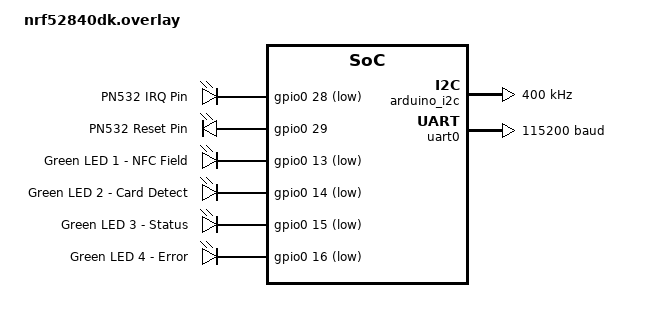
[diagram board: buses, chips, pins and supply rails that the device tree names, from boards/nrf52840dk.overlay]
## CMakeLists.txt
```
cmake_minimum_required(VERSION 3.20.0)

find_package(Zephyr REQUIRED HINTS $ENV{ZEPHYR_BASE})

project(passport_reader)

target_sources(app PRIVATE
    src/main.c
    src/ble_passport_service.c
)
```

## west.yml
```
manifest:
  self:
    path: .

  remotes:
    - name: zephyrproject-rtos
      url-base: https://github.com/zephyrproject-rtos

  projects:
    - name: zephyr
      remote: zephyrproject-rtos
      revision: v3.5.0
      path: zephyr
      import: true
```

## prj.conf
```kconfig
# Project Configuration for NFC Passport Reader with BLE
# Compatible with Standalone Zephyr 3.5.0

# ==================== General Configuration ====================
CONFIG_MAIN_STACK_SIZE=4096
CONFIG_HEAP_MEM_POOL_SIZE=8192
CONFIG_SYSTEM_WORKQUEUE_STACK_SIZE=2048

# ==================== Logging Configuration ====================
CONFIG_LOG=y
CONFIG_LOG_MODE_DEFERRED=y
CONFIG_LOG_BACKEND_UART=y
CONFIG_LOG_DEFAULT_LEVEL=3
CONFIG_PRINTK=y
CONFIG_EARLY_CONSOLE=y

# ==================== GPIO Configuration ====================
CONFIG_GPIO=y

# ==================== I2C Configuration ====================
CONFIG_I2C=y

# ==================== Bluetooth Configuration ====================
# Core Bluetooth
CONFIG_BT=y
CONFIG_BT_PERIPHERAL=y
CONFIG_BT_DEVICE_NAME="PassportReader"
CONFIG_BT_DEVICE_NAME_MAX=20
CONFIG_BT_DEVICE_NAME_DYNAMIC=y

# BLE Settings
CONFIG_BT_MAX_CONN=1
CONFIG_BT_MAX_PAIRED=1

# GATT Service
CONFIG_BT_GATT_SERVICE_CHANGED=y
CONFIG_BT_GATT_DYNAMIC_DB=y
CONFIG_BT_ATT_PREPARE_COUNT=2
CONFIG_BT_L2CAP_TX_BUF_COUNT=4

# MTU Size (Good for passport data transfer)
CONFIG_BT_L2CAP_TX_MTU=247
CONFIG_BT_BUF_ACL_TX_SIZE=251
CONFIG_BT_BUF_ACL_RX_SIZE=251

# Privacy and Security
CONFIG_BT_PRIVACY=y
CONFIG_BT_SMP=y
CONFIG_BT_SIGNING=y
CONFIG_BT_BONDABLE=y

# ==================== Cryptography - mbedTLS ====================
CONFIG_MBEDTLS=y
CONFIG_MBEDTLS_BUILTIN=y
CONFIG_MBEDTLS_ENABLE_HEAP=y
CONFIG_MBEDTLS_HEAP_SIZE=32768

# Core crypto support
CONFIG_MBEDTLS_CIPHER=y
CONFIG_MBEDTLS_MD=y

# Hash algorithms
CONFIG_MBEDTLS_MAC_SHA1_ENABLED=y
CONFIG_MBEDTLS_MAC_SHA256_ENABLED=y

# Cipher support
CONFIG_MBEDTLS_CIPHER_AES_ENABLED=y

# Random number generation
CONFIG_ENTROPY_GENERATOR=y
CONFIG_MBEDTLS_ENTROPY_ENABLED=y
CONFIG_MBEDTLS_CTR_DRBG_ENABLED=y
CONFIG_MBEDTLS_HMAC_DRBG_ENABLED=y

# ==================== Thread Configuration ====================
CONFIG_NUM_PREEMPT_PRIORITIES=15

# ==================== Timer Configuration ====================
CONFIG_SYS_CLOCK_TICKS_PER_SEC=1000

# ==================== Debug Configuration ====================
CONFIG_DEBUG=y
CONFIG_ASSERT=y
CONFIG_ASSERT_LEVEL=2

# ==================== Console Configuration ====================
CONFIG_CONSOLE=y
CONFIG_UART_CONSOLE=y

# ==================== Optimization ====================
CONFIG_SPEED_OPTIMIZATIONS=y

# ==================== BLE Controller Configuration ====================
# Note: Some of these options may not exist in Zephyr 3.5.0
# They are controller-specific and auto-configured based on other settings
CONFIG_BT_CTLR_DATA_LENGTH_MAX=251
CONFIG_BT_CTLR_RX_BUFFERS=6

# ==================== Optional Debug (Uncomment for troubleshooting) ====================
# CONFIG_BT_DEBUG_LOG=y
# CONFIG_BT_DEBUG_GATT=y
# CONFIG_BT_DEBUG_ATT=y
# CONFIG_BT_DEBUG_L2CAP=y
```

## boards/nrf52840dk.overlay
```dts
/*
 * Device Tree Overlay for NRF52840 DK + PN532 NFC Module
 * Board: nrf52840dk_nrf52840
 * Zephyr version: 3.5.0
 * 
 * Pin Assignments:
 * PN532 Module <-> NRF52840 DK
 * VCC  -> VDD (3.3V)
 * GND  -> GND
 * SDA  -> P0.26 (I2C SDA) - Pin 15 on P3 header
 * SCL  -> P0.27 (I2C SCL) - Pin 16 on P3 header
 * IRQ  -> P0.28 (GPIO)    - Pin 17 on P3 header
 * RST  -> P0.29 (GPIO)    - Pin 18 on P3 header
 */

/ {
    aliases {
        pn532irq = &pn532_irq_gpio;
        pn532rst = &pn532_rst_gpio;
    };

    pn532_control {
        compatible = "gpio-leds";
        pn532_irq_gpio: pn532_irq {
            gpios = <&gpio0 28 (GPIO_ACTIVE_LOW | GPIO_PULL_UP)>;
            label = "PN532 IRQ Pin";
        };
        pn532_rst_gpio: pn532_rst {
            gpios = <&gpio0 29 GPIO_ACTIVE_HIGH>;
            label = "PN532 Reset Pin";
        };
    };
};

/* I2C Configuration - Use arduino_i2c which is already configured */
&arduino_i2c {
    status = "okay";
    clock-frequency = <I2C_BITRATE_FAST>;
};

/* Alternative: Use i2c0 with explicit pin configuration */
&i2c0 {
    compatible = "nordic,nrf-twi";
    status = "disabled";  /* Disable if using arduino_i2c above */
};

/* LEDs on nRF52840 DK */
&led0 {
    gpios = <&gpio0 13 GPIO_ACTIVE_LOW>;
    label = "Green LED 1 - NFC Field";
};

&led1 {
    gpios = <&gpio0 14 GPIO_ACTIVE_LOW>;
    label = "Green LED 2 - Card Detect";
};

&led2 {
    gpios = <&gpio0 15 GPIO_ACTIVE_LOW>;
    label = "Green LED 3 - Status";
};

&led3 {
    gpios = <&gpio0 16 GPIO_ACTIVE_LOW>;
    label = "Green LED 4 - Error";
};

/* UART for logging */
&uart0 {
    status = "okay";
    current-speed = <115200>;
};

/* GPIO */
&gpio0 {
    status = "okay";
};

/* Disable unused peripherals to save resources */
&i2c1 {
    status = "disabled";
};

&pwm0 {
    status = "disabled";
};

&spi0 {
    status = "disabled";
};

&spi1 {
    status = "disabled";
};

&spi2 {
    status = "disabled";
};
```

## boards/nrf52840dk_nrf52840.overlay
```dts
/*
 * Device Tree Overlay for NRF52840 DK + PN532 NFC Module
 */

/ {
	aliases {
		pn532irq = &pn532_irq_gpio;
		pn532rst = &pn532_rst_gpio;
	};

	pn532_control {
		compatible = "gpio-keys";  /* FIXED: Changed from "gpio-leds" to "gpio-keys" */
		pn532_irq_gpio: pn532_irq {
			gpios = <&gpio0 28 (GPIO_ACTIVE_LOW | GPIO_PULL_UP)>;
			label = "PN532 IRQ Pin";
		};
		pn532_rst_gpio: pn532_rst {
			gpios = <&gpio0 29 GPIO_ACTIVE_HIGH>;
			label = "PN532 Reset Pin";
		};
	};
};

/* Pin control for I2C0 (arduino_i2c) */
&pinctrl {
	i2c0_default: i2c0_default {
		group1 {
			psels = <NRF_PSEL(TWIM_SDA, 0, 26)>,
					<NRF_PSEL(TWIM_SCL, 0, 27)>;
		};
	};

	i2c0_sleep: i2c0_sleep {
		group1 {
			psels = <NRF_PSEL(TWIM_SDA, 0, 26)>,
					<NRF_PSEL(TWIM_SCL, 0, 27)>;
			low-power-enable;
		};
	};
};

/* Enable I2C0 (also known as arduino_i2c) */
&i2c0 {
	compatible = "nordic,nrf-twim";
	status = "okay";
	clock-frequency = <I2C_BITRATE_STANDARD>;  /* IMPROVED: Use constant instead of raw value */
	pinctrl-0 = <&i2c0_default>;
	pinctrl-1 = <&i2c0_sleep>;
	pinctrl-names = "default", "sleep";
};

/* LEDs */
&led0 {
	gpios = <&gpio0 13 GPIO_ACTIVE_LOW>;
};

&led1 {
	gpios = <&gpio0 14 GPIO_ACTIVE_LOW>;
};

&led2 {
	gpios = <&gpio0 15 GPIO_ACTIVE_LOW>;
};

&led3 {
	gpios = <&gpio0 16 GPIO_ACTIVE_LOW>;
};

/* Disable unused peripherals to save power */
&i2c1 {
	status = "disabled";
};

&spi0 {
	status = "disabled";
};

&spi1 {
	status = "disabled";
};

&spi2 {
	status = "disabled";
};

&pwm0 {
	status = "disabled";
};
```

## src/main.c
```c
/**
 * @file main.c
 * @brief NFC Passport Reader with BLE - Android Integration
 */

#include <zephyr/kernel.h>
#include <zephyr/device.h>
#include <zephyr/devicetree.h>
#include <zephyr/drivers/gpio.h>
#include <zephyr/drivers/i2c.h>
#include <zephyr/logging/log.h>
#include <string.h>

#include "ble_passport_service.h"

LOG_MODULE_REGISTER(nfc_passport, LOG_LEVEL_DBG);

/* ==================== PN532 Configuration ==================== */
static uint8_t pn532_i2c_address = 0x24; // Will auto-detect 0x24 or 0x48
#define PN532_PREAMBLE 0x00
#define PN532_STARTCODE1 0x00
#define PN532_STARTCODE2 0xFF
#define PN532_POSTAMBLE 0x00

#define PN532_HOSTTOPN532 0xD4
#define PN532_PN532TOHOST 0xD5

/* PN532 Commands */
#define PN532_CMD_GETFIRMWAREVERSION 0x02
#define PN532_CMD_SAMCONFIGURATION 0x14
#define PN532_CMD_INLISTPASSIVETARGET 0x4A
#define PN532_CMD_INDATAEXCHANGE 0x40

/* ISO14443A Types */
#define PN532_MIFARE_ISO14443A 0x00

/* GPIO Pins */
#define PN532_IRQ_NODE DT_ALIAS(pn532irq)
#define PN532_RST_NODE DT_ALIAS(pn532rst)

#define LED0_NODE DT_ALIAS(led0)
#define LED1_NODE DT_ALIAS(led1)
#define LED2_NODE DT_ALIAS(led2)
#define LED3_NODE DT_ALIAS(led3)

/* ==================== Type Definitions ==================== */
#define APDU_MAX_LEN 261

typedef struct
{
        uint8_t data[APDU_MAX_LEN];
        uint16_t len;
} apdu_t;

typedef enum
{
        STATE_IDLE,
        STATE_INIT_PN532,
        STATE_WAIT_COMMAND,
        STATE_DETECTING,
        STATE_CARD_DETECTED,
        STATE_SELECTING_APP,
        STATE_READING_DG1,
        STATE_SUCCESS,
        STATE_ERROR
} passport_state_t;

typedef struct
{
        passport_state_t state;
        uint8_t uid[10];
        uint8_t uid_len;
        uint8_t target_number;
        bool card_present;
        bool scan_requested;
        passport_data_t passport_data;
} passport_reader_t;

/* ==================== Global Variables ==================== */
static const struct device *i2c_dev;
static const struct gpio_dt_spec pn532_irq = GPIO_DT_SPEC_GET(PN532_IRQ_NODE, gpios);
static const struct gpio_dt_spec pn532_rst = GPIO_DT_SPEC_GET(PN532_RST_NODE, gpios);

static const struct gpio_dt_spec led0 = GPIO_DT_SPEC_GET(LED0_NODE, gpios);
static const struct gpio_dt_spec led1 = GPIO_DT_SPEC_GET(LED1_NODE, gpios);
static const struct gpio_dt_spec led2 = GPIO_DT_SPEC_GET(LED2_NODE, gpios);
static const struct gpio_dt_spec led3 = GPIO_DT_SPEC_GET(LED3_NODE, gpios);

static passport_reader_t reader = {0};

/* ==================== PN532 Functions - Arduino Style ==================== */

static int pn532_wakeup(void)
{
        LOG_DBG("Waking up PN532...");

        // Send wakeup sequence (like Arduino library)
        uint8_t wake_cmd[] = {0x55, 0x55, 0x00, 0x00, 0x00};
        int ret = i2c_write(i2c_dev, wake_cmd, sizeof(wake_cmd), pn532_i2c_address);

        if (ret != 0)
        {
                LOG_WRN("Wakeup write failed: %d", ret);
        }

        k_sleep(K_MSEC(20));

        return 0;
}

static int pn532_read_ack(void)
{
        uint8_t ack[7];

        int ret = i2c_read(i2c_dev, ack, sizeof(ack), pn532_i2c_address);
        if (ret != 0)
        {
                return ret;
        }

        // Log ACK frame for debugging
        LOG_HEXDUMP_DBG(ack, sizeof(ack), "ACK frame:");

        // Skip ready byte if present
        uint8_t offset = (ack[0] == 0x01) ? 1 : 0;

        if (offset == 1)
        {
                LOG_DBG("ACK has I2C ready byte (0x01)");
        }

        // ACK is optional in I2C mode
        LOG_DBG("ACK skipped (optional in I2C mode)");
        return 0;
}

static int pn532_write_command(const uint8_t *cmd, uint8_t cmd_len)
{
        uint8_t frame[64];
        uint8_t idx = 0;

        frame[idx++] = PN532_PREAMBLE;
        frame[idx++] = PN532_STARTCODE1;
        frame[idx++] = PN532_STARTCODE2;
        frame[idx++] = cmd_len + 1;
        frame[idx++] = ~(cmd_len + 1) + 1;
        frame[idx++] = PN532_HOSTTOPN532;

        memcpy(&frame[idx], cmd, cmd_len);
        idx += cmd_len;

        uint8_t dcs = PN532_HOSTTOPN532;
        for (uint8_t i = 0; i < cmd_len; i++)
        {
                dcs += cmd[i];
        }
        frame[idx++] = ~dcs + 1;
        frame[idx++] = PN532_POSTAMBLE;

        LOG_HEXDUMP_DBG(frame, idx, "TX frame:");

        return i2c_write(i2c_dev, frame, idx, pn532_i2c_address);
}

static int pn532_read_response(uint8_t *resp, uint8_t *resp_len, uint16_t timeout_ms)
{
        uint8_t frame[64];
        int ret;

        // Wait for response ready
        k_sleep(K_MSEC(50));

        // Read ACK first (Arduino style)
        ret = pn532_read_ack();
        if (ret != 0)
        {
                LOG_DBG("ACK read failed or invalid");
        }

        // Small delay between ACK and response
        k_sleep(K_MSEC(20));

        // Read response frame
        ret = i2c_read(i2c_dev, frame, sizeof(frame), pn532_i2c_address);
        if (ret != 0)
        {
                LOG_ERR("Failed to read response frame: %d", ret);
                return ret;
        }

        // Log raw frame for debugging
        LOG_HEXDUMP_DBG(frame, 16, "RX frame:");

        // Check for "not ready" pattern (0x00 0x80 0x80...)
        if (frame[0] == 0x00 && frame[1] == 0x80)
        {
                LOG_DBG("PN532 not ready or no card present");
                return -EAGAIN; // Try again
        }

        // Skip the I2C ready status byte (0x01) if present
        uint8_t offset = 0;
        if (frame[0] == 0x01)
        {
                offset = 1;
                LOG_DBG("Skipped I2C ready byte");
        }

        // Validate frame header (after offset)
        if (frame[offset] != PN532_PREAMBLE ||
            frame[offset + 1] != PN532_STARTCODE1 ||
            frame[offset + 2] != PN532_STARTCODE2)
        {
                LOG_ERR("Invalid response frame header");
                LOG_ERR("Expected: 00 00 FF, Got: %02X %02X %02X",
                        frame[offset], frame[offset + 1], frame[offset + 2]);
                LOG_HEXDUMP_ERR(frame, 16, "Full frame:");
                return -EINVAL;
        }

        uint8_t len = frame[offset + 3];
        uint8_t lcs = frame[offset + 4];

        // Validate length checksum
        if ((uint8_t)(len + lcs) != 0)
        {
                LOG_WRN("Length checksum mismatch: LEN=0x%02X, LCS=0x%02X", len, lcs);
        }

        LOG_DBG("Frame header OK - Preamble: %02X %02X %02X, LEN: %02X, LCS: %02X",
                frame[offset], frame[offset + 1], frame[offset + 2], len, lcs);

        *resp_len = len - 2; // Subtract TFI and checksum
        memcpy(resp, &frame[offset + 6], *resp_len);

        LOG_HEXDUMP_DBG(resp, *resp_len, "Response data:");

        return 0;
}

static int pn532_reset(void)
{
        LOG_INF("Resetting PN532...");
        gpio_pin_set_dt(&pn532_rst, 0);
        k_sleep(K_MSEC(100));
        gpio_pin_set_dt(&pn532_rst, 1);
        k_sleep(K_MSEC(500));
        return 0;
}

static int pn532_init(void)
{
        int ret;
        uint8_t cmd[16];
        uint8_t resp[32];
        uint8_t resp_len;

        LOG_INF("Initializing PN532 (Arduino style)...");

        // Hardware reset
        ret = pn532_reset();
        if (ret != 0)
        {
                LOG_ERR("Reset failed");
                return ret;
        }

        // Try both addresses with retries (like Arduino library)
        uint8_t addresses[] = {0x24, 0x48};
        bool found = false;

        for (int addr_idx = 0; addr_idx < 2 && !found; addr_idx++)
        {
                pn532_i2c_address = addresses[addr_idx];
                LOG_INF("Trying PN532 at address 0x%02X...", pn532_i2c_address);

                // Wakeup sequence
                pn532_wakeup();

                // Try to get firmware version with retries
                for (int retry = 0; retry < 3; retry++)
                {
                        LOG_INF("  Attempt %d/3", retry + 1);

                        cmd[0] = PN532_CMD_GETFIRMWAREVERSION;
                        ret = pn532_write_command(cmd, 1);
                        if (ret != 0)
                        {
                                LOG_WRN("  Write failed: %d", ret);
                                k_sleep(K_MSEC(100));
                                continue;
                        }

                        ret = pn532_read_response(resp, &resp_len, 1000);
                        if (ret == 0 && resp[0] == (PN532_CMD_GETFIRMWAREVERSION + 1))
                        {
                                LOG_INF("✓✓✓ PN532 FOUND at 0x%02X! ✓✓✓", pn532_i2c_address);
                                LOG_INF("Firmware: v%d.%d", resp[1], resp[2]);
                                found = true;
                                break;
                        }
                        else
                        {
                                LOG_WRN("  Read failed: %d", ret);
                                k_sleep(K_MSEC(200));
                        }
                }

                if (found)
                        break;
        }

        if (!found)
        {
                LOG_ERR("PN532 not found at 0x24 or 0x48");
                LOG_ERR("Check:");
                LOG_ERR("  1. PN532 power (VCC = 3.3V)");
                LOG_ERR("  2. PN532 mode switches (I2C mode: SEL0=OFF, SEL1=ON)");
                LOG_ERR("  3. Wiring (SDA, SCL connections)");
                return -ENODEV;
        }

        // Configure SAM (like Arduino)
        LOG_INF("Configuring SAM...");
        cmd[0] = PN532_CMD_SAMCONFIGURATION;
        cmd[1] = 0x01; // Normal mode
        cmd[2] = 0x14; // Timeout 50ms * 20 = 1 second
        cmd[3] = 0x01; // Use IRQ pin

        ret = pn532_write_command(cmd, 4);
        if (ret != 0)
        {
                LOG_ERR("SAM config write failed");
                return ret;
        }

        ret = pn532_read_response(resp, &resp_len, 1000);
        if (ret != 0)
        {
                LOG_ERR("SAM config response failed");
                return ret;
        }

        LOG_INF("✓ PN532 initialized successfully!");
        return 0;
}

static int pn532_detect_card(void)
{
        uint8_t cmd[16];
        uint8_t resp[32];
        uint8_t resp_len;
        int ret;

        cmd[0] = PN532_CMD_INLISTPASSIVETARGET;
        cmd[1] = 0x01;
        cmd[2] = PN532_MIFARE_ISO14443A;

        ret = pn532_write_command(cmd, 3);
        if (ret != 0)
                return ret;

        ret = pn532_read_response(resp, &resp_len, 2000);
        if (ret != 0)
                return ret;

        if (resp[0] != (PN532_CMD_INLISTPASSIVETARGET + 1))
        {
                return -EINVAL;
        }

        uint8_t num_targets = resp[1];
        if (num_targets == 0)
        {
                return -ENODEV;
        }

        reader.target_number = resp[2];
        reader.uid_len = resp[6];
        memcpy(reader.uid, &resp[7], reader.uid_len);

        LOG_INF("Card detected!");
        LOG_HEXDUMP_INF(reader.uid, reader.uid_len, "UID:");

        /* Store UID in passport data */
        memcpy(reader.passport_data.uid, reader.uid, reader.uid_len);
        reader.passport_data.uid_len = reader.uid_len;

        reader.card_present = true;
        return 0;
}

/* Select ePassport Application */
static const uint8_t SELECT_EPASSPORT_APP[] = {
    0x00, 0xA4, 0x04, 0x0C, 0x07, 0xA0, 0x00, 0x00, 0x02, 0x47, 0x10, 0x01};

static int select_passport_application(void)
{
        uint8_t cmd[256];
        uint8_t resp[256];
        uint8_t resp_len;
        int ret;

        cmd[0] = PN532_CMD_INDATAEXCHANGE;
        cmd[1] = reader.target_number;
        memcpy(&cmd[2], SELECT_EPASSPORT_APP, sizeof(SELECT_EPASSPORT_APP));

        ret = pn532_write_command(cmd, sizeof(SELECT_EPASSPORT_APP) + 2);
        if (ret != 0)
                return ret;

        ret = pn532_read_response(resp, &resp_len, 3000);
        if (ret != 0)
                return ret;

        /* Check for success (SW1=0x90, SW2=0x00) */
        if (resp_len >= 4 && resp[resp_len - 2] == 0x90 && resp[resp_len - 1] == 0x00)
        {
                LOG_INF("ePassport application selected");
                return 0;
        }

        LOG_ERR("SELECT failed");
        return -EIO;
}

static int read_passport_mrz(void)
{
        /* Mock data for demonstration */
        /* In production, this would read DG1 and parse MRZ */

        strncpy(reader.passport_data.document_number, "A12345678", 10);
        strncpy(reader.passport_data.surname, "DOE", 40);
        strncpy(reader.passport_data.given_names, "JOHN", 40);
        strncpy(reader.passport_data.nationality, "USA", 4);
        strncpy(reader.passport_data.date_of_birth, "19900101", 9);
        strncpy(reader.passport_data.sex, "M", 2);
        strncpy(reader.passport_data.expiry_date, "20301231", 9);
        reader.passport_data.photo_available = 0;

        LOG_INF("Passport MRZ read (mock data)");
        LOG_INF("  Doc: %s", reader.passport_data.document_number);
        LOG_INF("  Name: %s, %s", reader.passport_data.surname,
                reader.passport_data.given_names);

        return 0;
}

/* ==================== BLE Command Handler ==================== */

static void handle_ble_command(passport_command_t cmd)
{
        LOG_INF("BLE Command received: 0x%02X", cmd);

        switch (cmd)
        {
        case PASSPORT_CMD_START_SCAN:
                LOG_INF("Start scan requested");
                reader.scan_requested = true;
                ble_passport_send_status(PASSPORT_STATUS_SCANNING);
                gpio_pin_set_dt(&led0, 1);
                break;

        case PASSPORT_CMD_STOP_SCAN:
                LOG_INF("Stop scan requested");
                reader.scan_requested = false;
                reader.state = STATE_WAIT_COMMAND;
                ble_passport_send_status(PASSPORT_STATUS_IDLE);
                gpio_pin_set_dt(&led0, 0);
                break;

        case PASSPORT_CMD_GET_DATA:
                LOG_INF("Get data requested");
                if (reader.card_present)
                {
                        ble_passport_send_data(&reader.passport_data);
                }
                break;

        case PASSPORT_CMD_RESET:
                LOG_INF("Reset requested");
                memset(&reader, 0, sizeof(reader));
                reader.state = STATE_WAIT_COMMAND;
                ble_passport_send_status(PASSPORT_STATUS_IDLE);
                break;

        default:
                LOG_WRN("Unknown command: 0x%02X", cmd);
                break;
        }
}

/* ==================== State Machine ==================== */

static void passport_state_machine(void)
{
        int ret;

        switch (reader.state)
        {
        case STATE_IDLE:
                LOG_INF("State: IDLE");
                reader.state = STATE_INIT_PN532;
                break;

        case STATE_INIT_PN532:
                LOG_INF("State: INIT_PN532");
                gpio_pin_set_dt(&led0, 1);

                ret = pn532_init();
                if (ret == 0)
                {
                        reader.state = STATE_WAIT_COMMAND;
                        ble_passport_send_status(PASSPORT_STATUS_IDLE);
                        gpio_pin_set_dt(&led0, 0);
                }
                else
                {
                        LOG_ERR("PN532 init failed");
                        reader.state = STATE_ERROR;
                        ble_passport_send_status(PASSPORT_STATUS_ERROR);
                }
                break;

        case STATE_WAIT_COMMAND:
                /* Wait for BLE command to start scanning */
                if (reader.scan_requested)
                {
                        reader.state = STATE_DETECTING;
                }
                k_sleep(K_MSEC(100));
                break;

        case STATE_DETECTING:
                if (!reader.scan_requested)
                {
                        reader.state = STATE_WAIT_COMMAND;
                        break;
                }

                ble_passport_send_status(PASSPORT_STATUS_SCANNING);
                ret = pn532_detect_card();
                if (ret == 0)
                {
                        reader.state = STATE_CARD_DETECTED;
                        gpio_pin_set_dt(&led1, 1);
                }
                else
                {
                        k_sleep(K_MSEC(500));
                }
                break;

        case STATE_CARD_DETECTED:
                LOG_INF("State: CARD_DETECTED");
                gpio_pin_set_dt(&led2, 1);
                ble_passport_send_status(PASSPORT_STATUS_READING);
                reader.state = STATE_SELECTING_APP;
                break;

        case STATE_SELECTING_APP:
                LOG_INF("State: SELECTING_APP");

                ret = select_passport_application();
                if (ret == 0)
                {
                        reader.state = STATE_READING_DG1;
                }
                else
                {
                        reader.state = STATE_ERROR;
                        ble_passport_send_status(PASSPORT_STATUS_ERROR);
                }
                break;

        case STATE_READING_DG1:
                LOG_INF("State: READING_DG1");

                ret = read_passport_mrz();
                if (ret == 0)
                {
                        reader.state = STATE_SUCCESS;
                }
                else
                {
                        reader.state = STATE_ERROR;
                }
                break;

        case STATE_SUCCESS:
                LOG_INF("State: SUCCESS");
                gpio_pin_set_dt(&led2, 1);
                gpio_pin_set_dt(&led3, 0);

                LOG_INF("=== Passport Read Complete ===");

                /* Send success status and data via BLE */
                ble_passport_send_status(PASSPORT_STATUS_SUCCESS);
                k_sleep(K_MSEC(100));
                ble_passport_send_data(&reader.passport_data);

                k_sleep(K_SECONDS(2));

                /* Reset for next scan */
                reader.card_present = false;
                reader.state = STATE_WAIT_COMMAND;
                gpio_pin_set_dt(&led1, 0);
                gpio_pin_set_dt(&led2, 0);
                break;

        case STATE_ERROR:
                LOG_ERR("State: ERROR");
                gpio_pin_set_dt(&led3, 1);
                ble_passport_send_status(PASSPORT_STATUS_ERROR);

                k_sleep(K_SECONDS(2));

                memset(&reader, 0, sizeof(reader));
                reader.state = STATE_WAIT_COMMAND;
                gpio_pin_set_dt(&led0, 0);
                gpio_pin_set_dt(&led1, 0);
                gpio_pin_set_dt(&led2, 0);
                gpio_pin_set_dt(&led3, 0);
                break;
        }
}

/* ==================== Main ==================== */

static void i2c_scan_detailed(void)
{
        LOG_INF("=== Detailed I2C Bus Scan ===");
        bool found = false;
        int success_count = 0;
        int nack_count = 0;
        int other_error_count = 0;

        for (uint8_t addr = 0x03; addr < 0x78; addr++)
        {
                uint8_t dummy;
                int ret = i2c_read(i2c_dev, &dummy, 1, addr);

                if (ret == 0)
                {
                        LOG_INF("  ✓ Device found at: 0x%02X", addr);
                        found = true;
                        success_count++;
                }
                else if (ret == -EIO || ret == -ENXIO)
                {
                        nack_count++;
                }
                else
                {
                        LOG_WRN("  ? Address 0x%02X returned error: %d", addr, ret);
                        other_error_count++;
                }
        }

        LOG_INF("=== Scan Results ===");
        LOG_INF("  Devices found: %d", success_count);
        LOG_INF("  NACKs (normal): %d", nack_count);
        LOG_INF("  Other errors: %d", other_error_count);

        if (!found)
        {
                LOG_WRN("No I2C devices found in scan");
                LOG_WRN("PN532 will be detected during init with retries");
        }
        LOG_INF("=========================");
}

int main(void)
{
        int ret;

        LOG_INF("=== NFC Passport Reader with BLE ===");
        LOG_INF("Build: " __DATE__ " " __TIME__);

        /* Get I2C device */
        i2c_dev = DEVICE_DT_GET(DT_NODELABEL(i2c0));

        if (!device_is_ready(i2c_dev))
        {
                LOG_ERR("I2C device not ready");
                return -ENODEV;
        }

        LOG_INF("I2C device ready");
        i2c_scan_detailed();

        /* Initialize GPIOs */
        if (!gpio_is_ready_dt(&pn532_irq))
        {
                LOG_ERR("PN532 IRQ GPIO not ready");
                return -ENODEV;
        }
        if (!gpio_is_ready_dt(&pn532_rst))
        {
                LOG_ERR("PN532 RST GPIO not ready");
                return -ENODEV;
        }

        gpio_pin_configure_dt(&pn532_irq, GPIO_INPUT);
        gpio_pin_configure_dt(&pn532_rst, GPIO_OUTPUT_ACTIVE);

        gpio_pin_configure_dt(&led0, GPIO_OUTPUT_INACTIVE);
        gpio_pin_configure_dt(&led1, GPIO_OUTPUT_INACTIVE);
        gpio_pin_configure_dt(&led2, GPIO_OUTPUT_INACTIVE);
        gpio_pin_configure_dt(&led3, GPIO_OUTPUT_INACTIVE);

        LOG_INF("Hardware initialized");

        /* Initialize BLE */
        ret = ble_passport_service_init();
        if (ret)
        {
                LOG_ERR("BLE init failed (err %d)", ret);
                return ret;
        }

        /* Register BLE command callback */
        ble_passport_set_data_callback(handle_ble_command);

        LOG_INF("BLE Passport Reader ready");
        LOG_INF("Connect via Android app and send START_SCAN command");

        reader.state = STATE_IDLE;

        while (1)
        {
                passport_state_machine();
                k_sleep(K_MSEC(100));
        }

        return 0;
}
```

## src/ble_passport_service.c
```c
/**
 * @file ble_passport_service.c
 * @brief BLE Service Implementation for Passport Data Transfer
 */

#include "ble_passport_service.h"
#include <zephyr/logging/log.h>
#include <zephyr/bluetooth/bluetooth.h>
#include <zephyr/bluetooth/conn.h>
#include <zephyr/bluetooth/uuid.h>
#include <zephyr/bluetooth/gatt.h>

LOG_MODULE_REGISTER(ble_passport_svc, LOG_LEVEL_DBG);

/* ==================== Global Variables ==================== */
static struct bt_conn *current_conn = NULL;
static void (*command_callback)(passport_command_t cmd) = NULL;
static passport_status_t current_status = PASSPORT_STATUS_IDLE;
static passport_data_t current_data = {0};

/* ==================== GATT Characteristics ==================== */

/* Status Characteristic - Notify */
static void status_ccc_cfg_changed(const struct bt_gatt_attr *attr, uint16_t value)
{
    LOG_INF("Status notifications %s", value == BT_GATT_CCC_NOTIFY ? "enabled" : "disabled");
}

/* Data Characteristic - Notify */
static void data_ccc_cfg_changed(const struct bt_gatt_attr *attr, uint16_t value)
{
    LOG_INF("Data notifications %s", value == BT_GATT_CCC_NOTIFY ? "enabled" : "disabled");
}

/* Control Characteristic - Write */
static ssize_t control_write(struct bt_conn *conn,
                             const struct bt_gatt_attr *attr,
                             const void *buf, uint16_t len, uint16_t offset,
                             uint8_t flags)
{
    const uint8_t *data = buf;

    if (len != 1)
    {
        LOG_WRN("Invalid command length: %d", len);
        return BT_GATT_ERR(BT_ATT_ERR_INVALID_ATTRIBUTE_LEN);
    }

    passport_command_t cmd = (passport_command_t)data[0];
    LOG_INF("Control write: command=0x%02X", cmd);

    if (command_callback)
    {
        command_callback(cmd);
    }

    return len;
}

/* GATT Service Definition */
BT_GATT_SERVICE_DEFINE(passport_svc,
                       BT_GATT_PRIMARY_SERVICE(BT_UUID_PASSPORT_SERVICE),

                       /* Status Characteristic (Read + Notify) */
                       BT_GATT_CHARACTERISTIC(BT_UUID_PASSPORT_STATUS,
                                              BT_GATT_CHRC_READ | BT_GATT_CHRC_NOTIFY,
                                              BT_GATT_PERM_READ,
                                              NULL, NULL, &current_status),
                       BT_GATT_CCC(status_ccc_cfg_changed,
                                   BT_GATT_PERM_READ | BT_GATT_PERM_WRITE),

                       /* Data Characteristic (Read + Notify) */
                       BT_GATT_CHARACTERISTIC(BT_UUID_PASSPORT_DATA,
                                              BT_GATT_CHRC_READ | BT_GATT_CHRC_NOTIFY,
                                              BT_GATT_PERM_READ,
                                              NULL, NULL, &current_data),
                       BT_GATT_CCC(data_ccc_cfg_changed,
                                   BT_GATT_PERM_READ | BT_GATT_PERM_WRITE),

                       /* Control Characteristic (Write) */
                       BT_GATT_CHARACTERISTIC(BT_UUID_PASSPORT_CONTROL,
                                              BT_GATT_CHRC_WRITE,
                                              BT_GATT_PERM_WRITE,
                                              NULL, control_write, NULL), );

/* ==================== Connection Callbacks ==================== */

static void connected(struct bt_conn *conn, uint8_t err)
{
    if (err)
    {
        LOG_ERR("Connection failed (err %u)", err);
        return;
    }

    current_conn = bt_conn_ref(conn);

    char addr[BT_ADDR_LE_STR_LEN];
    bt_addr_le_to_str(bt_conn_get_dst(conn), addr, sizeof(addr));
    LOG_INF("Connected: %s", addr);
}

static void disconnected(struct bt_conn *conn, uint8_t reason)
{
    char addr[BT_ADDR_LE_STR_LEN];
    bt_addr_le_to_str(bt_conn_get_dst(conn), addr, sizeof(addr));
    LOG_INF("Disconnected: %s (reason %u)", addr, reason);

    if (current_conn)
    {
        bt_conn_unref(current_conn);
        current_conn = NULL;
    }
}

BT_CONN_CB_DEFINE(conn_callbacks) = {
    .connected = connected,
    .disconnected = disconnected,
};

/* ==================== Advertising ==================== */

/* Simple advertising without UUID (still discoverable by name) */
static const struct bt_data ad[] = {
    BT_DATA_BYTES(BT_DATA_FLAGS, (BT_LE_AD_GENERAL | BT_LE_AD_NO_BREDR)),
};

/* Scan response data with device name */
static const struct bt_data sd[] = {
    BT_DATA(BT_DATA_NAME_COMPLETE, CONFIG_BT_DEVICE_NAME, sizeof(CONFIG_BT_DEVICE_NAME) - 1)};

/* ==================== Advertising ==================== */

static int start_advertising(void)
{
    int err;

    LOG_INF("Starting advertising...");
    LOG_INF("Device name: %s", CONFIG_BT_DEVICE_NAME);

    /* Log advertising data for debugging */
    for (int i = 0; i < ARRAY_SIZE(ad); i++)
    {
        LOG_INF("AD[%d] type=0x%02x len=%d", i, ad[i].type, ad[i].data_len);
    }

    /* Use BT_LE_ADV_CONN_NAME which automatically includes the device name */
    err = bt_le_adv_start(BT_LE_ADV_CONN_NAME, ad, ARRAY_SIZE(ad), NULL, 0);
    if (err)
    {
        LOG_ERR("Advertising failed to start (err %d)", err);
        return err;
    }

    LOG_INF("✓✓✓ Advertising started ✓✓✓");
    LOG_INF("Waiting for Android connection...");
    LOG_INF("Android can discover by name: %s", CONFIG_BT_DEVICE_NAME);
    LOG_INF("Service UUID will be discovered after connection");

    return 0;
}

/* ==================== Public API ==================== */

int ble_passport_service_init(void)
{
    int err;

    LOG_INF("BLE init");

    err = bt_enable(NULL);
    if (err)
    {
        LOG_ERR("BT failed: %d", err);
        return err;
    }

    LOG_INF("BT ready");

    /* Start advertising */
    err = start_advertising();
    if (err)
    {
        LOG_ERR("Failed to start advertising");
        return err;
    }

    return 0;
}

int ble_passport_send_status(passport_status_t status)
{
    LOG_DBG("Status: 0x%02X", status);

    current_status = status;

    if (current_conn)
    {
        int err = bt_gatt_notify(current_conn, &passport_svc.attrs[2],
                                 &current_status, sizeof(current_status));
        if (err)
        {
            LOG_WRN("Notify failed: %d", err);
            return err;
        }
        LOG_DBG("Status notification sent");
    }

    return 0;
}

int ble_passport_send_data(const passport_data_t *data)
{
    LOG_INF("Send data");

    if (!data)
    {
        return -EINVAL;
    }

    memcpy(&current_data, data, sizeof(passport_data_t));

    if (current_conn)
    {
        int err = bt_gatt_notify(current_conn, &passport_svc.attrs[5],
                                 &current_data, sizeof(current_data));
        if (err)
        {
            LOG_WRN("Notify failed: %d", err);
            return err;
        }
        LOG_INF("Data notification sent");
    }

    return 0;
}

void ble_passport_set_data_callback(void (*callback)(passport_command_t cmd))
{
    command_callback = callback;
    LOG_INF("Callback set");
}
```

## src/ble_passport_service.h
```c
/**
 * @file ble_passport_service.h
 * @brief BLE Service for Passport Data Transfer
 */

#ifndef BLE_PASSPORT_SERVICE_H_
#define BLE_PASSPORT_SERVICE_H_

#include <zephyr/kernel.h>
#include <zephyr/bluetooth/bluetooth.h>
#include <zephyr/bluetooth/conn.h>
#include <zephyr/bluetooth/uuid.h>
#include <zephyr/bluetooth/gatt.h>

/* Service UUID: 6E400001-B5A3-F393-E0A9-E50E24DCCA9E */
#define BT_UUID_PASSPORT_SERVICE_VAL \
    BT_UUID_128_ENCODE(0x6e400001, 0xb5a3, 0xf393, 0xe0a9, 0xe50e24dcca9e)

/* Status Characteristic UUID: 6E400002-B5A3-F393-E0A9-E50E24DCCA9E */
#define BT_UUID_PASSPORT_STATUS_VAL \
    BT_UUID_128_ENCODE(0x6e400002, 0xb5a3, 0xf393, 0xe0a9, 0xe50e24dcca9e)

/* Data Characteristic UUID: 6E400003-B5A3-F393-E0A9-E50E24DCCA9E */
#define BT_UUID_PASSPORT_DATA_VAL \
    BT_UUID_128_ENCODE(0x6e400003, 0xb5a3, 0xf393, 0xe0a9, 0xe50e24dcca9e)

/* Control Characteristic UUID: 6E400004-B5A3-F393-E0A9-E50E24DCCA9E */
#define BT_UUID_PASSPORT_CONTROL_VAL \
    BT_UUID_128_ENCODE(0x6e400004, 0xb5a3, 0xf393, 0xe0a9, 0xe50e24dcca9e)

#define BT_UUID_PASSPORT_SERVICE BT_UUID_DECLARE_128(BT_UUID_PASSPORT_SERVICE_VAL)
#define BT_UUID_PASSPORT_STATUS BT_UUID_DECLARE_128(BT_UUID_PASSPORT_STATUS_VAL)
#define BT_UUID_PASSPORT_DATA BT_UUID_DECLARE_128(BT_UUID_PASSPORT_DATA_VAL)
#define BT_UUID_PASSPORT_CONTROL BT_UUID_DECLARE_128(BT_UUID_PASSPORT_CONTROL_VAL)

/* Status Values */
typedef enum
{
    PASSPORT_STATUS_IDLE = 0x00,
    PASSPORT_STATUS_SCANNING = 0x01,
    PASSPORT_STATUS_READING = 0x02,
    PASSPORT_STATUS_SUCCESS = 0x03,
    PASSPORT_STATUS_ERROR = 0x04,
    PASSPORT_STATUS_NO_CARD = 0x05
} passport_status_t;

/* Control Commands */
typedef enum
{
    PASSPORT_CMD_START_SCAN = 0x01,
    PASSPORT_CMD_STOP_SCAN = 0x02,
    PASSPORT_CMD_GET_DATA = 0x03,
    PASSPORT_CMD_RESET = 0x04
} passport_command_t;

/* Passport Data Structure */
typedef struct
{
    char document_number[10];
    char surname[40];
    char given_names[40];
    char nationality[4];
    char date_of_birth[9];
    char sex[2];
    char expiry_date[9];
    uint8_t uid[10];
    uint8_t uid_len;
    uint8_t photo_available;
} passport_data_t;

/* Function declarations */
int ble_passport_service_init(void);
int ble_passport_send_status(passport_status_t status);
int ble_passport_send_data(const passport_data_t *data);
void ble_passport_set_data_callback(void (*callback)(passport_command_t cmd));

#endif /* BLE_PASSPORT_SERVICE_H_ */
```
